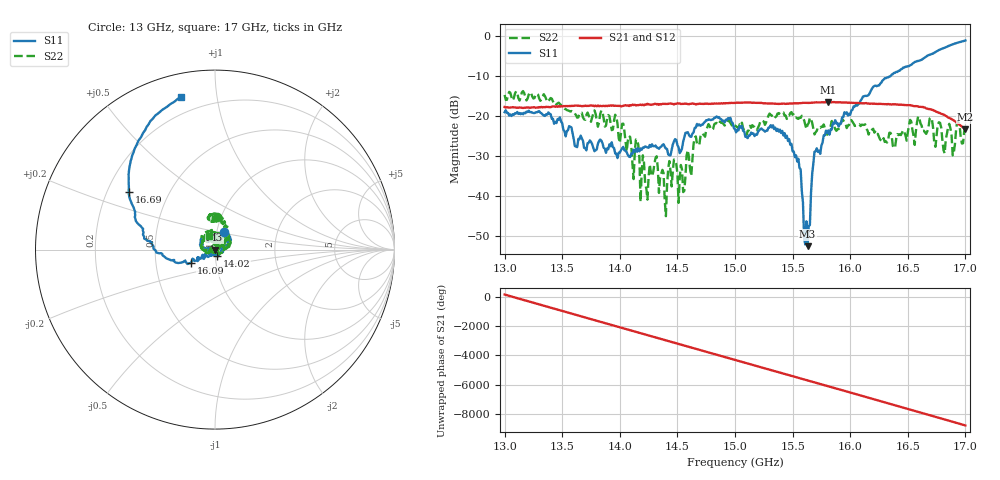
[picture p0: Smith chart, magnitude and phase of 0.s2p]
!Keysight Technologies,P9374A,MY57211807,A.19.30.04
!Date: Friday, May 01, 2026 14:06:19
!Correction: S11(C  2-Port  )
!S21(C  2-Port  )
!S12(C  2-Port  )
!S22(C  2-Port  )
!S2P File: Measurements: S11, S21, S12, S22:
# Hz S  RI  R 50
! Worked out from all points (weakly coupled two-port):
!   401 points, 13 GHz to 17 GHz, reference 50 ohm
!   highest |S21| = -16.57 dB at 15.81 GHz (marker M1); lowest = -23.4 dB at 17 GHz (marker M2)
!   lowest |S11| = -52.6 dB at 15.63 GHz (marker M3), VSWR 1.00, Z = 49.8 - j0.0845 ohm
!   |S11| at or under -10 dB: start of sweep to 16.35 GHz
!   |S22| runs from -45.1 to -13.8 dB; largest |S21 - S12| = 0.0044
!   S11 on the Smith chart (normalised r, x): 13 GHz: 1.08, +0.22; 14.02 GHz: 1.02, -0.08; 16.09 GHz: 0.76, -0.12; 16.69 GHz: 0.29, +0.28; 17 GHz: 0.11, +0.80
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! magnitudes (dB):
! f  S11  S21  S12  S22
! 13 GHz  -19.1  -17.8  -17.8  -14.8
! 13.38 GHz  -19.2  -17.8  -17.8  -16.3
! 13.67 GHz  -25.6  -17.6  -17.6  -19.2
! 14.02 GHz  -28.1  -17.6  -17.6  -22.0
! 14.15 GHz  -29.0  -17.3  -17.3  -26.0
! 14.23 GHz  -27.8  -17.2  -17.2  -38.2
! 14.34 GHz  -28.3  -17.3  -17.2  -39.3
! 14.53 GHz  -28.9  -17.1  -17.0  -32.3
! 14.77 GHz  -20.9  -17.1  -17.0  -22.1
! 15 GHz  -23.3  -16.8  -16.8  -22.5
! 15.45 GHz  -25.0  -17.0  -17.0  -20.8
! 15.55 GHz  -30.8  -16.9  -16.9  -20.8
! 15.61 GHz  -52.2  -16.7  -16.7  -22.2
! 15.63 GHz  -52.6  -16.8  -16.8  -22.3
! 15.67 GHz  -34.5  -16.7  -16.7  -21.8
! 15.7 GHz  -28.9  -16.7  -16.7  -24.1
! 15.81 GHz  -23.7  -16.6  -16.6  -24.4
! 16.09 GHz  -16.3  -16.9  -16.9  -22.6
! 16.34 GHz  -10.2  -17.1  -17.1  -24.2
! 16.69 GHz  -4.8  -18.3  -18.3  -20.7
! 16.82 GHz  -3.0  -19.8  -19.8  -29.4
! 17 GHz  -1.2  -23.4  -23.4  -21.7
